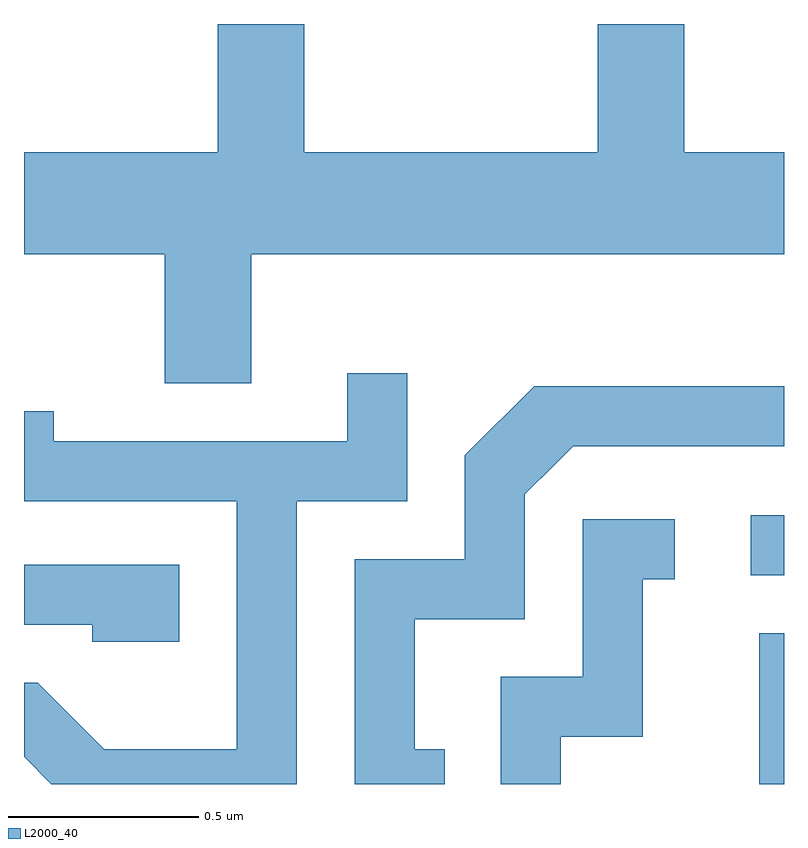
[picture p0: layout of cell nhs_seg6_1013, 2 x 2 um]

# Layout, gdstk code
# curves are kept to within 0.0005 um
import gdstk
lib = gdstk.Library(unit=1e-6, precision=1e-09)
def R(c, l, rs):  # rectangles x0, y0, x1, y1
    for r in rs: c.add(gdstk.rectangle(r[:2], r[2:], *l))
def P(c, l, *ps):  # polygons
    for p in ps: c.add(gdstk.Polygon(p, *l))
L2000_40 = (2000, 40)

nhs_seg6_1013 = lib.new_cell('nhs_seg6_1013')
R(nhs_seg6_1013, L2000_40, [(194.546,1584.162,194.611,1584.559), (194.523,1584.711,194.611,1584.869)])
P(nhs_seg6_1013, L2000_40, [(193.209,1585.556),(194.611,1585.556),(194.611,1585.824),(194.349,1585.824),(194.349,1586.162),(194.121,1586.162),(194.121,1585.824),(193.349,1585.824),(193.349,1586.162),(193.121,1586.162),(193.121,1585.824),(192.611,1585.824),(192.611,1585.556),(192.981,1585.556),(192.981,1585.216),(193.209,1585.216)],
  [(193.329,1584.906),(193.619,1584.906),(193.619,1585.243),(193.461,1585.243),(193.461,1585.064),(192.689,1585.064),(192.689,1585.143),(192.611,1585.143),(192.611,1584.906),(193.171,1584.906),(193.171,1584.254),(192.822,1584.254),(192.647,1584.429),(192.611,1584.429),(192.611,1584.234),(192.683,1584.162),(193.329,1584.162)],
  [(193.718,1584.254),(193.639,1584.254),(193.639,1584.596),(193.929,1584.596),(193.929,1584.924),(194.057,1585.051),(194.611,1585.051),(194.611,1585.209),(193.954,1585.209),(193.771,1585.027),(193.771,1584.754),(193.481,1584.754),(193.481,1584.162),(193.718,1584.162)],
  [(194.024,1584.286),(194.239,1584.286),(194.239,1584.701),(194.323,1584.701),(194.323,1584.859),(194.081,1584.859),(194.081,1584.444),(193.866,1584.444),(193.866,1584.162),(194.024,1584.162)],
  [(193.019,1584.739),(192.611,1584.739),(192.611,1584.581),(192.791,1584.581),(192.791,1584.536),(193.019,1584.536)])

lib.write_gds('nhs_seg6_1013.gds')
